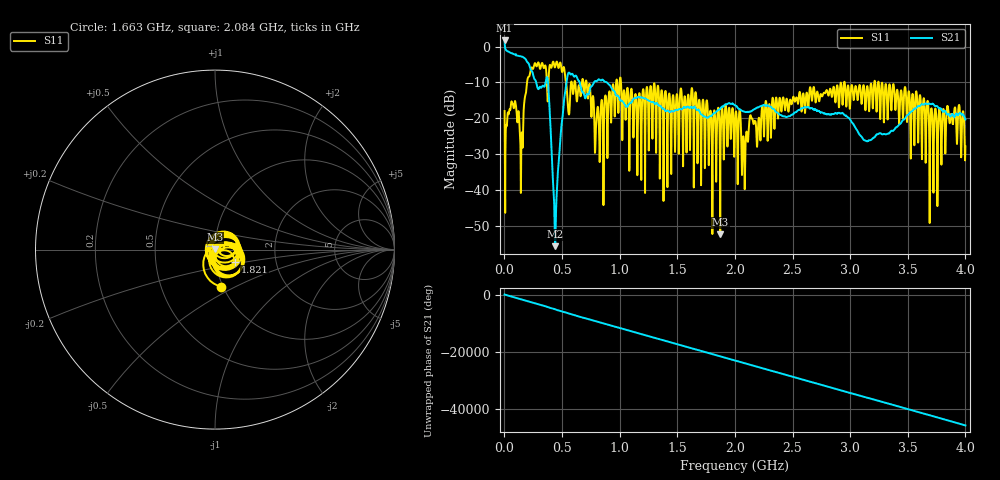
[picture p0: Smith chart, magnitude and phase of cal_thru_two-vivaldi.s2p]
!Created with skrf (http://scikit-rf.org).
# GHz S RI R 50.0
!freq ReS11 ImS11 ReS21 ImS21 ReS12 ImS12 ReS22 ImS22
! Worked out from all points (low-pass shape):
!   4000 points, 1 MHz to 4 GHz, reference 50 ohm
!   highest |S21| = 1.71 dB at 1 MHz (marker M1); lowest = -55.6 dB at 440 MHz (marker M2)
!   |S21| within 3 dB of the highest: start of sweep to 26.35 MHz
!   lowest |S11| = -52.3 dB at 1.872 GHz (marker M3), VSWR 1.00, Z = 49.9 + j0.219 ohm
!   |S11| at or under -10 dB: 1.011 GHz to 2.948 GHz (1.937 GHz wide, 97.8 % of centre); 2.952 GHz to 3.209 GHz (256.8 MHz wide, 8.33 % of centre); 3.247 GHz to end of sweep (the widest 3 of 12)
!   S12 and S22 are empty: the file has one direction only
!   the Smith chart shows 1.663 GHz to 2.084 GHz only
!   S11 on the Smith chart (normalised r, x): 1.663 GHz: 0.98, -0.43; 1.821 GHz: 1.24, -0.17; 2.084 GHz: 1.02, +0.01
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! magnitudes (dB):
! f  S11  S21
! 1 MHz  -18.0  1.7
! 79 MHz  -17.0  -2.1
! 146 MHz  -27.8  -2.7
! 220 MHz  -7.7  -5.7
! 367 MHz  -9.5  -8.6
! 440 MHz  -5.7  -55.6
! 544 MHz  -13.3  -8.5
! 668 MHz  -11.5  -12.1
! 842 MHz  -15.0  -9.4
! 990 MHz  -17.7  -14.0
! 1.17 GHz  -13.0  -14.1
! 1.334 GHz  -11.1  -16.3
! 1.663 GHz  -13.6  -17.5
! 1.821 GHz  -17.8  -18.6
! 1.872 GHz  -52.3  -17.4
! 2.001 GHz  -21.2  -16.4
! 2.084 GHz  -38.8  -18.2
! 2.141 GHz  -19.7  -18.0
! 2.667 GHz  -15.0  -17.1
! 3.334 GHz  -12.5  -24.2
! 3.637 GHz  -14.5  -16.2
! 4 GHz  -27.8  -20.3
